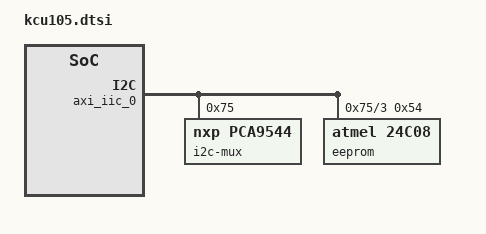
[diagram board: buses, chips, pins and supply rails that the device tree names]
// SPDX-License-Identifier: GPL-2.0+
/*
i * dts file for Xilinx Microblaze kcu105.
 *
 * (C) Copyright 2017-2022 Xilinx, Inc.
 * (C) Copyright 2022-2023 Advanced Micro Devices, Inc. All Rights Reserved.
 *
 * Naga Sureshkumar Relli <nagasure@xilinx.com>
 */

&axi_iic_0 {
	#address-cells = <1>;
	#size-cells = <0>;
	i2c-mux@75 {
		compatible = "nxp,pca9544";
		#address-cells = <1>;
		#size-cells = <0>;
		reg = <0x75>;
		i2c@3 {
			#address-cells = <1>;
			#size-cells = <0>;
			reg = <3>;
			eeprom@54 {
				compatible = "atmel,24c08";
				reg = <0x54>;
			};
		};
	};
};
